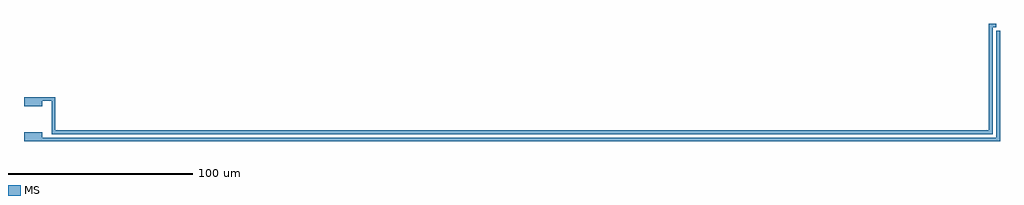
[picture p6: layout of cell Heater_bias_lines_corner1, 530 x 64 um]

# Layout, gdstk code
import gdstk
lib = gdstk.Library(unit=1e-6, precision=1e-09)
def R(c, l, rs):  # rectangles x0, y0, x1, y1
    for r in rs: c.add(gdstk.rectangle(r[:2], r[2:], *l))
def P(c, l, *ps):  # polygons
    for p in ps: c.add(gdstk.Polygon(p, *l))
MS = (11, 0)

heater_bias_lines_corner = lib.new_cell('Heater_bias_lines_corner1')
R(heater_bias_lines_corner, MS, [(-265,-33,42.5,-31), (-37.5,-33,260.5,-31), (260.5,-33,264,-31), (263,-33,265,27), (-265,-31,-255,-28), (-37.5,-29,261,-27), (259,-29,261,29), (-265,-14,-255,-11), (259,27,261,29), (259,29,261,31), (261,29,263,31)])
P(heater_bias_lines_corner, MS, [(-250,-29),(-250,-11),(-265,-11),(-265,-9),(-248,-9),(-248,-27),(42.5,-27),(42.5,-29)])

lib.write_gds('Heater_bias_lines_corner1.gds')
